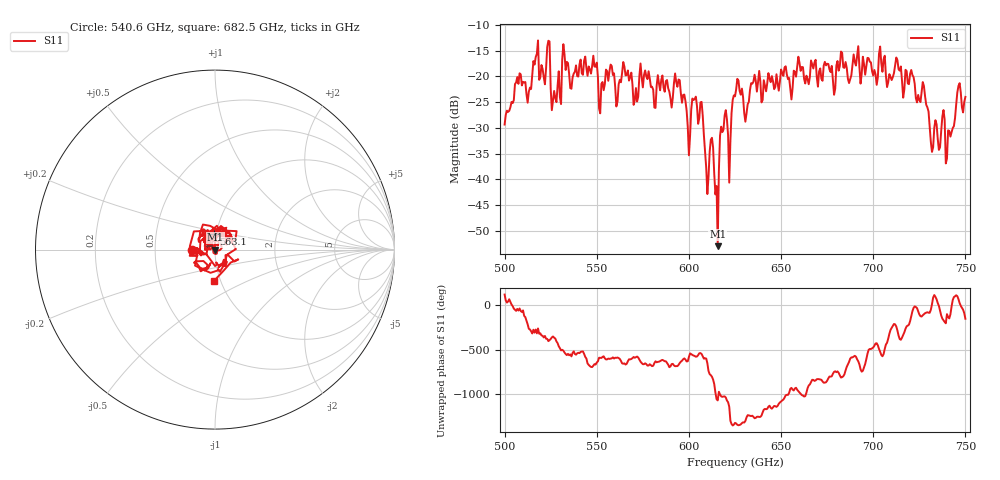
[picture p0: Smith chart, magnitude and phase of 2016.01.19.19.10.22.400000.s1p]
!Created with skrf (http://scikit-rf.org).
# GHz S RI R 50.0
!freq ReS11 ImS11
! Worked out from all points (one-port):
!   401 points, 500 GHz to 750 GHz, reference 50 ohm
!   lowest |S11| = -52.9 dB at 615.6 GHz (marker M1), VSWR 1.00, Z = 50.2 + j0.0538 ohm
!   |S11| at or under -10 dB: start of sweep to end of sweep
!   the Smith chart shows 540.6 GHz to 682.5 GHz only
!   S11 on the Smith chart (normalised r, x): 540.6 GHz: 0.77, -0.00; 563.1 GHz: 0.97, +0.17; 682.5 GHz: 0.93, -0.33
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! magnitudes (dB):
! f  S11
! 500 GHz  -29.4
! 507.5 GHz  -21.5
! 513.1 GHz  -23.0
! 516.9 GHz  -16.3
! 523.8 GHz  -13.1
! 526.9 GHz  -22.8
! 531.2 GHz  -16.8
! 540.6 GHz  -17.7
! 562.5 GHz  -20.7
! 563.1 GHz  -21.2
! 593.8 GHz  -22.0
! 600 GHz  -35.3
! 606.9 GHz  -25.0
! 609.4 GHz  -37.7
! 612.5 GHz  -31.9
! 615.6 GHz  -52.9
! 618.1 GHz  -30.8
! 621.9 GHz  -40.6
! 625 GHz  -23.9
! 656.2 GHz  -22.3
! 682.5 GHz  -15.2
! 687.5 GHz  -20.6
! 718.8 GHz  -21.4
! 727.5 GHz  -21.9
! 731.9 GHz  -34.7
! 740.6 GHz  -30.5
! 746.2 GHz  -21.8
! 750 GHz  -24.0
